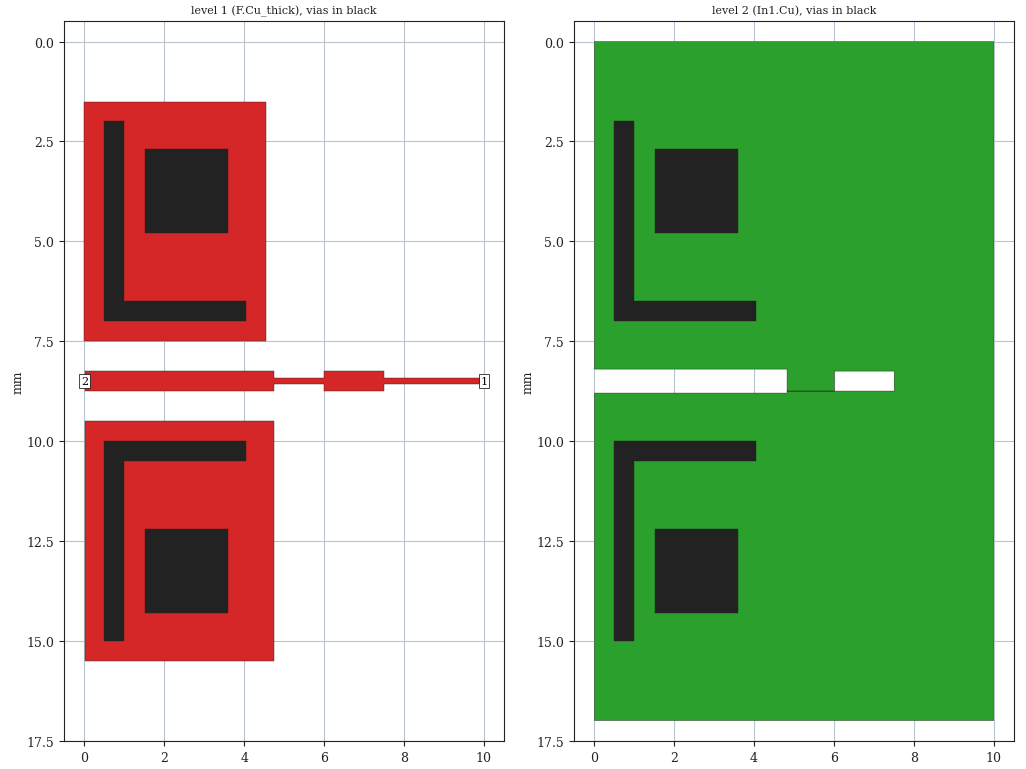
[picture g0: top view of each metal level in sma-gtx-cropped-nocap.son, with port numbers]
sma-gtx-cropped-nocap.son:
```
FTYP SONPROJ 19 ! Sonnet Project File
VER 18.52
HEADER
LIC antikernel2.1.51176
DAT 02/13/2022 13:15:21
BUILT_BY_CREATED dxf 18.52 12/15/2021 18:24:32
BUILT_BY_SAVED sonnet 18.52
MDATE 02/13/2022 13:15:21
HDATE 02/13/2022 13:15:21
ANN Created by dxfgeo, Sonnet Software Inc.
END HEADER
DIM
ANG DEG
CAP PF
CON /OH
FREQ GHZ
IND NH
LNG MM
RES OH
END DIM
CONTROL
VARSWP
OPTIONS  -dj
SPEED 1
CACHE_ABS 2
Q_ACC N
END CONTROL
GEO
SYM
DRP1 LEFT NONE 1
DRP1 RIGHT NONE 0.75
TMET "Free Space" 0 FREESPACE 376.7303136 0 0 0
BMET "Lossless" 0 SUP 0 0 0 0
MET "Copper_1oz_thin" 1 NOR 58000000 0.5 0.035 
MET "Copper_1oz_thick" 2 TMM 58000000 0.5 0.035 2
MET "Copper_0.5oz_thin" 4 NOR 58000000 0.5 0.017 
MET "Copper_0.5oz_thick" 12 TMM 58000000 0.5 0.017 2
MET "Copper_0.5oz_thick_down" 5 TMM 58000000 0.5 0.017 2 CDVY TDWN
MET "Copper_1oz_thick_down" 3 TMM 58000000 0.5 0.035 2 CDVY TDWN
BOX 12 10 17 800 1360 20 0
      5 1 1 0 0 0 0 "Air"
      0.04 3.5 1 0.025 0 0 0 "Soldermask"
      0.075 3.39 1 0.004 0 0 0 "Panasonic_R-5775(G)"
      0.068 3.56 1 0.004 0 0 0 "Panasonic_R-5670(G)"
      0.13 3.39 1 0.004 0 0 0 "Panasonic_R-5775(G)"
      0.092 3.56 1 0.004 0 0 0 "Panasonic_R-5670(G)"
      0.609 3.39 1 0.004 0 0 0 "Panasonic_R-5775(G)"
      0.092 3.56 1 0.004 0 0 0 "Panasonic_R-5670(G)"
      0.13 3.39 1 0.004 0 0 0 "Panasonic_R-5775(G)"
      0.068 3.56 1 0.004 0 0 0 "Panasonic_R-5670(G)"
      0.075 3.39 1 0.004 0 0 0 "Panasonic_R-5775(G)"
      0.04 3.5 1 0.025 0 0 0 "Soldermask"
      5 1 1 0 0 0 0 "Air"
TECHLAY METAL F.Cu_thick L1D0 -2 -65534 CAD F.Cu_thick drawing 
1 0 1 N 6207 1 1 100 100 0 0 0 Y
END
END
TECHLAY VIA Via1 L9D0 -13 -65534 CAD Via1 drawing 
VIA POLYGON
1 0 -1 N 6466 1 1 100 100 0 0 0 Y
TOLEVEL 10 RING NOCOVERS
END
END
TECHLAY METAL F.Cu_thin <UNSPECIFIED> -1 -65534 CAD F.Cu_thin drawing 
1 0 0 N 6219 1 1 100 100 0 0 0 Y
END
END
TECHLAY METAL In1.Cu L2D0 -3 -65534 CAD In1.Cu drawing 
2 0 0 N 6226 1 1 100 100 0 0 0 Y
END
END
TECHLAY METAL In2.Cu_thick L3D0 -5 -65534 CAD In2.Cu_thick drawing 
3 0 3 N 6229 1 1 100 100 0 0 0 Y
END
END
TECHLAY METAL In2.Cu_thin <UNSPECIFIED> -4 -65534 CAD In2.Cu drawing 
3 0 2 N 6231 1 1 100 100 0 0 0 Y
END
END
TECHLAY METAL In3.Cu L4D0 -6 -65534 CAD In3.Cu drawing 
4 0 0 N 6234 1 1 100 100 0 0 0 Y
END
END
TECHLAY METAL In4.Cu L5D0 -7 -65534 CAD In4.Cu drawing 
7 0 0 N 6239 1 1 100 100 0 0 0 Y
END
END
TECHLAY METAL In5.Cu_thick L6D0 -9 -65534 CAD In5.Cu_thick drawing 
8 0 4 N 6242 1 1 100 100 0 0 0 Y
END
END
TECHLAY METAL In5.Cu_thin <UNSPECIFIED> -8 -65534 CAD In5.Cu drawing 
8 0 2 N 6244 1 1 100 100 0 0 0 Y
END
END
TECHLAY METAL In6.Cu L7D0 -10 -65534 CAD In6.Cu drawing 
9 0 0 N 6247 1 1 100 100 0 0 0 Y
END
END
TECHLAY METAL B.Cu_thick L8D0 -12 -65534 CAD B.Cu_thick drawing 
10 0 5 N 6250 1 1 100 100 0 0 0 Y
END
END
TECHLAY METAL B.Cu_thin <UNSPECIFIED> -11 -65534 CAD B.Cu_thin drawing 
10 0 0 N 6252 1 1 100 100 0 0 0 Y
END
END
LORGN 0 17 U 
POR1 BOX
POLY 6475 1
1
1 50 0 0 0 10 8.5 
POR1 BOX
POLY 6475 1
9
2 50 0 0 0 0.007 8.5 
NUM 8
1 5 1 N 6088 1 1 100 100 0 0 0 Y
TLAYNAM F.Cu_thick INH
4.757 9.5
0.007 9.5
0.007 15.5
4.757 15.5
4.757 9.5
END
1 5 1 N 6299 1 1 100 100 0 0 0 Y
TLAYNAM F.Cu_thick INH
4.557 1.5
0 1.5
0 7.5
4.557 7.5
4.557 1.5
END
1 17 1 N 6475 1 1 100 100 0 0 0 Y
TLAYNAM F.Cu_thick INH
7.507 8.57
10 8.57
10 8.43
7.507 8.43
7.507 8.25
6.007 8.25
6.007 8.43
4.757 8.43
4.757 8.26
0.007 8.26
0.007 8.74
4.757 8.74
4.757 8.57
6.007 8.57
6.007 8.75
7.507 8.75
7.507 8.57
END
VIA POLYGON
1 5 -1 N 6187 1 1 100 100 0 0 0 Y
TOLEVEL 10 RING NOCOVERS
TLAYNAM Via1 INH
1.507 2.7
3.6 2.7
3.6 4.8
1.507 4.8
1.507 2.7
END
VIA POLYGON
1 5 -1 N 6189 1 1 100 100 0 0 0 Y
TOLEVEL 10 RING NOCOVERS
TLAYNAM Via1 INH
1.507 12.2
3.6 12.2
3.6 14.3
1.507 14.3
1.507 12.2
END
VIA POLYGON
1 8 -1 N 6425 1 1 100 100 0 0 0 Y
TOLEVEL 10 RING NOCOVERS
TLAYNAM Via1 INH
4.05 6.5
1 6.5
1 2
0.5 2
0.5 6.5
0.5 7
4.05 7
4.05 6.5
END
VIA POLYGON
1 8 -1 N 6426 1 1 100 100 0 0 0 Y
TOLEVEL 10 RING NOCOVERS
TLAYNAM Via1 INH
4.05 10.5
1 10.5
1 15
0.5 15
0.5 10.5
0.5 10
4.05 10
4.05 10.5
END
2 23 0 N 6482 1 1 100 100 0 0 0 Y
TLAYNAM In1.Cu INH
10 8.75
10 0
0 0
0 8.2
0.65 8.2
0.65 8.2
4.825 8.2
4.825 8.75
4.825 8.75
6.007 8.75
6.007 8.25
7.507 8.25
7.507 8.75
6.007 8.75
4.825 8.75
4.825 8.75
4.825 8.8
4.825 8.800948767
4.75 8.8
0 8.8
0 17
10 17
10 8.75
END
END GEO
OPT
MAX 100
END OPT
VARSWP
ENABLED Y
FREQ Y AY ABS_ENTRY 0.001 16.0 -1 300 
END
END VARSWP
3DOPTIONS
GLOBAL 2
ALL 13 1
END 3DOPTIONS
```
